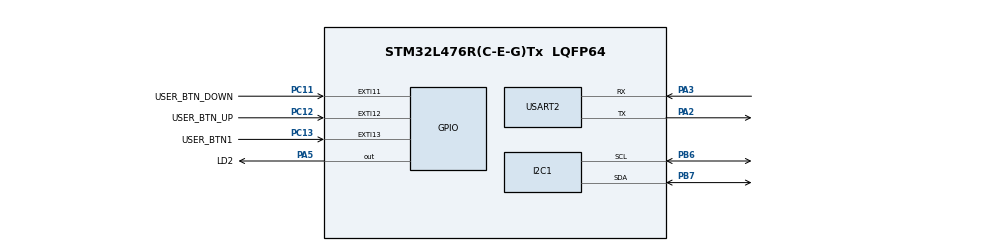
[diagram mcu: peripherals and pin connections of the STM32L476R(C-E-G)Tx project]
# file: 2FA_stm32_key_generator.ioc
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I2C1.Timing=0x00100D14
Mcu.Family=STM32L4
Mcu.Name=STM32L476R(C-E-G)Tx
Mcu.Package=LQFP64
NVIC.EXTI15_10_IRQn=true\:10\:0\:true\:false\:true\:true\:true\:true
NVIC.PriorityGroup=NVIC_PRIORITYGROUP_4
PA13\ (JTMS-SWDIO).Mode=Serial_Wire
PA13\ (JTMS-SWDIO).Signal=SYS_JTMS-SWDIO
PA14\ (JTCK-SWCLK).Mode=Serial_Wire
PA14\ (JTCK-SWCLK).Signal=SYS_JTCK-SWCLK
PA2.Mode=Asynchronous
PA2.Signal=USART2_TX
PA3.Mode=Asynchronous
PA3.Signal=USART2_RX
PA5.GPIO_Label=LD2
PA5.Signal=GPIO_Output
PB6.Mode=I2C
PB6.Signal=I2C1_SCL
PB7.Mode=I2C
PB7.Signal=I2C1_SDA
PC11.GPIO_Label=USER_BTN_DOWN
PC11.Signal=GPXTI11
PC12.GPIO_Label=USER_BTN_UP
PC12.Signal=GPXTI12
PC13.GPIO_Label=USER_BTN1
PC13.GPIO_ModeDefaultEXTI=GPIO_MODE_IT_FALLING
PC13.Signal=GPXTI13
PC14-OSC32_IN\ (PC14).Mode=LSE-External-Oscillator
PC14-OSC32_IN\ (PC14).Signal=RCC_OSC32_IN
PC15-OSC32_OUT\ (PC15).Mode=LSE-External-Oscillator
PC15-OSC32_OUT\ (PC15).Signal=RCC_OSC32_OUT
ProjectManager.HeapSize=0x200
ProjectManager.StackSize=0x400
ProjectManager.TargetToolchain=STM32CubeIDE
RCC.HSE_VALUE=8000000
RCC.HSI_VALUE=16000000
RCC.MSI_VALUE=4000000
RCC.RTCClockSelection=RCC_RTCCLKSOURCE_LSE
RCC.VCOOutputFreq_Value=32000000
USART2.VirtualMode-Asynchronous=VM_ASYNC
VP_CRC_VS_CRC.Mode=CRC_Activate
VP_RTC_VS_RTC_Activate.Mode=RTC_Enabled
board=custom

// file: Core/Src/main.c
/* USER CODE BEGIN Header */
/**
 ******************************************************************************
 * @file           : main.c
 * @brief          : Main program body
 ******************************************************************************
 * @attention
 *
 * Copyright (c) 2024 STMicroelectronics.
 * All rights reserved.
 *
 * This software is licensed under terms that can be found in the LICENSE file
 * in the root directory of this software component.
 * If no LICENSE file comes with this software, it is provided AS-IS.
 *
 ******************************************************************************
 */
/* USER CODE END Header */
#include "main.h"
#include "crc.h"
#include "i2c.h"
#include "iwdg.h"
#include "rtc.h"
#include "usart.h"
#include "gpio.h"

/* USER CODE BEGIN Includes */
//Std:
#include <stdio.h>
#include <stdlib.h>
#include <time.h>
#include <stdbool.h>
//My:
#include "clockControl.h"
#include "dataConverter.h"
#include "keyGenerator.h"
#include "dataFromUser.h"
#include "eeprom.h"
#include "memoryController.h"
#include "features.h"
#include "interface.h"
#include "printer.h"
/* USER CODE END Includes */

void SystemClock_Config(void);

/* USER CODE BEGIN 0 */
typedef struct tm DateTime_t;

//********************************************************************************************
//GLOBAL VARIABLES (RAM)
//********************************************************************************************
volatile bool ACTIVE_MODE = false;
volatile bool OPT_MODE = false;

RTC_TimeTypeDef rtcTime = { 0 };
RTC_DateTypeDef rtcDate = { 0 };

uint8_t *key = { NULL };
char *name = { NULL };
uint8_t keySize = { 0 };
uint8_t nameSize = { 0 };

//********************************************************************************************
//Function to search key in memory and set it as active
//********************************************************************************************
void searchAndSetKey(const uint8_t keysNumber, uint8_t *currentKeyAddrPtr) {
	uint8_t currentKey[13] = { 0 };		// Container for key from memory
	uint8_t currentKeyName[5] = { 0 };	// Container for name from memory
	uint8_t data[13 + 5] = { 0 };		// Container for all data from memory

	readKeyFromMemory(data, keysNumber, *currentKeyAddrPtr, NULL, currentKeyAddrPtr);

	for (int i = 0; i < 13; i++)
		currentKey[i] = data[i];			//  Get key from data
	for (int i = 0; i < 5; i++)
		currentKeyName[i] = data[i + 13];	//  Get name from data

	//  Trim zeros and optimization arrays:
	keySize = trimZeros(currentKey, 13);
	nameSize = trimZeros(currentKeyName, 5);

	//  Dynamic allocated key array:
	key = (uint8_t*) malloc(keySize * sizeof(uint8_t));
	for (int i = 0; i < keySize; i++) {
		key[i] = currentKey[i];
	}
	//  Dynamic allocated name array:
	name = (char*) malloc((nameSize + 1) * sizeof(char));
	for (int i = 0; i < nameSize; i++) {
		name[i] = (char) currentKeyName[i];
	}
	name[nameSize] = '\0';

	printf("Current used key:\t\t['%s']\n", name);// Print current used key name
	//  printf("Key: ");
	//  for(int i = 0; i < 13; i++) printf("%x ", currentKey[i]);
	//  printf("\n");

	printLineSeparator('=');
	printf("\n");
}

/* USER CODE END 0 */

int main(void)
{

  /* MCU Configuration--------------------------------------------------------*/

  /* Reset of all peripherals, Initializes the Flash interface and the Systick. */
  HAL_Init();

  /* Configure the system clock */
  SystemClock_Config();

  /* Initialize all configured peripherals */
  MX_GPIO_Init();
  MX_USART2_UART_Init();
  MX_CRC_Init();
  MX_RTC_Init();
  MX_I2C1_Init();
  MX_IWDG_Init();
  /* USER CODE BEGIN 2 */
  volatile uint32_t prevWatchDogReset = HAL_GetTick();

//  resetMemoryTest();		// TEST FUNCTION

	printStartInfo();
	printTitle("Device initialization process");

//  ********************************************************************************************
//  Initializing the Memory
//  ********************************************************************************************
	bool missingKey = false;

	if (checkMemory()) {
		printf("Memory status\t\t\t[OK]\n");
	} else {
		printf("Memory status\t\t\t[WRONG]\n");
		printf("Memory initializing...\n");
		if (initMemory(128)) {
			printf("Memory initialize\t\t[OK]\n");
			missingKey = true;
		} else {
			printf("Memory initialize\t\t[ERROR]\n");
		}
	}

//  addKeyTest();			// TEST FUNCTION

//  ********************************************************************************************
//  Initializing the RTC clock
//  ********************************************************************************************
	initClockRTC(&prevWatchDogReset, &rtcTime, &rtcDate);			// Initializing the RTC clock

//  ********************************************************************************************
//  Get general data from memory
//  ********************************************************************************************
	uint8_t generalData[6] = { 0 };
	readGeneralDataFromMemory(generalData);

	const uint8_t MAX_KEYS = generalData[2];
	uint8_t keysNumber = generalData[3];
	uint8_t currentKeyAddr = generalData[4];
	uint8_t generalFlags = generalData[5];

	printSubTitle("General information:");
	printf("The device works in the mode:\t[");
	ACTIVE_MODE ? printf("ACTIVE") : printf("PASSIVE");
	printf("]\n");
	printLocalTime(&rtcTime, &rtcDate);
	printf("Epoch TimeStamp:\t\t[%ld]\n", getTimeStamp(&rtcTime, &rtcDate));// Show current epoch TimeStamp
	printf("Maximum keys in memory:\t\t[%u]\n", MAX_KEYS);
	printf("Current number of keys:\t\t[%u]\n", keysNumber);

//	********************************************************************************************
//	Initial add first key
//	********************************************************************************************
	if(missingKey) {
		addNewKey(&prevWatchDogReset, MAX_KEYS, &keysNumber, &generalFlags, &currentKeyAddr);
		keysNumber = 1;
		currentKeyAddr = 0x06;

		printSubTitle("After add first key:");
		printf("Maximum keys in memory:\t\t[%u]\n", MAX_KEYS);
		printf("Current number of keys:\t\t[%u]\n", keysNumber);
		printf("New key address:\t\t[%x]\n", currentKeyAddr);
	}

//  ********************************************************************************************
//  Get default/last used key from memory
//  ********************************************************************************************
	searchAndSetKey(keysNumber, &currentKeyAddr);

  /* USER CODE END 2 */

  /* Infinite loop */
  /* USER CODE BEGIN WHILE */
	bool tokenWasGenerate = false;
	uint32_t nextGenerate = 0;

	while (1) {
//	  ********************************************************************************************
//	  Option mode
//	  ********************************************************************************************
		if (OPT_MODE) {
			bool repeat = false;

			do {
				repeat = false;
				uint8_t option = printOptions(&prevWatchDogReset);

				if (option != NONE) {
					switch (option) {
						case KEYS_LIST:
							showKeysList(keysNumber);
							break;
						case CHANGE_KEY:
							uint8_t newKeyAddr = {0};

							uint8_t result = searchKey(&prevWatchDogReset, keysNumber, &newKeyAddr);

//							If key is founded:
							if(result == 0) {
//								Set new key:
								searchAndSetKey(keysNumber, &newKeyAddr);
							}

							break;
						case ADD_KEY:
							addNewKey(&prevWatchDogReset, MAX_KEYS, &keysNumber, &generalFlags, &currentKeyAddr);

//							Set new key:
							searchAndSetKey(keysNumber, &newKeyAddr);

							break;
						case DELETE_KEY:
							deleteKey(&prevWatchDogReset, MAX_KEYS, &keysNumber, &generalFlags, &currentKeyAddr);

//							Set new key:
							searchAndSetKey(keysNumber, &currentKeyAddr);

							break;
						case SETTINGS:
							HAL_Delay(250);

							uint8_t setOption = printSettings(&prevWatchDogReset);

							if (setOption != SET_NONE) {
								switch (setOption) {
								case SET_CHANGE_MODE:
									HAL_Delay(250);

									uint8_t setWorkMode = printWrokingMode(&prevWatchDogReset);

									if (setWorkMode != WORK_NONE) {
										switch(setWorkMode) {
										case WORK_PASSIVE:
											ACTIVE_MODE = false;
											break;
										case WORK_ACTIVE:
											ACTIVE_MODE = true;
											break;
										default:
											break;
										}
									}
									break;
								case SET_CHANGE_TIME:
									printf("SET TIME\n");
									getTimeFromUser(&prevWatchDogReset, &rtcTime, &rtcDate);
									break;
								case SET_CHANGE_TIMEZONE:
									printf("SET TIMEZONE\n");
//				  			  		  TODO: Add function
									break;
								case SET_BACK:
									repeat = true;
									break;
								default:
									break;
								}
							}
							break;
						case BACK:
							repeat = false;
							break;
						default:
							break;
					}
				}
			} while (repeat);

			OPT_MODE = false;
		}

//	  ********************************************************************************************
//	  Generate TOTP TOKEN in PASSIVE_MODE
//	  ********************************************************************************************
		if (!ACTIVE_MODE && !OPT_MODE) {
			HAL_RTC_GetDate(&hrtc, &rtcDate, RTC_FORMAT_BIN);
			HAL_RTC_GetTime(&hrtc, &rtcTime, RTC_FORMAT_BIN);
			uint8_t nowSeconds = rtcTime.Seconds;

			uint32_t nowTimeStamp = getTimeStamp(&rtcTime, &rtcDate);
			if( nextGenerate == 0 || (((nowSeconds > 0 && nowSeconds < 30) || (nowSeconds > 30 && nowSeconds < 60)) && !tokenWasGenerate) ) {
				uint32_t token = { generateToken(key, keySize, getTimeStamp(&rtcTime, &rtcDate)) };// Generate TOTP token

				uint8_t blockFor = 0;
				if(nowSeconds > 0 && nowSeconds < 30) {
					blockFor = 30 - nowSeconds;
				}else if(nowSeconds > 30 && nowSeconds < 60) {
					blockFor = 60 - nowSeconds;
				}
				nextGenerate = nowTimeStamp + blockFor;

				printf("Token:\t\t[%06lu]\n", token);

				tokenWasGenerate = true;
			}else if(nowTimeStamp >= nextGenerate && tokenWasGenerate) {
				tokenWasGenerate = false;
			}
		}
//	  ********************************************************************************************
    /* USER CODE END WHILE */

    /* USER CODE BEGIN 3 */
		resetWatchDog(&prevWatchDogReset);		// RESET WATCHDOG IN MAIN LOOP:
	}
	free(key);
	free(name);
  /* USER CODE END 3 */
}

void SystemClock_Config(void)
{
  RCC_OscInitTypeDef RCC_OscInitStruct = {0};
  RCC_ClkInitTypeDef RCC_ClkInitStruct = {0};

  /** Configure the main internal regulator output voltage
  */
  if (HAL_PWREx_ControlVoltageScaling(PWR_REGULATOR_VOLTAGE_SCALE1) != HAL_OK)
  {
    Error_Handler();
  }

  /** Configure LSE Drive Capability
  */
  HAL_PWR_EnableBkUpAccess();
  __HAL_RCC_LSEDRIVE_CONFIG(RCC_LSEDRIVE_LOW);

  /** Initializes the RCC Oscillators according to the specified parameters
  * in the RCC_OscInitTypeDef structure.
  */
  RCC_OscInitStruct.OscillatorType = RCC_OSCILLATORTYPE_LSI|RCC_OSCILLATORTYPE_LSE
                              |RCC_OSCILLATORTYPE_MSI;
  RCC_OscInitStruct.LSEState = RCC_LSE_ON;
  RCC_OscInitStruct.LSIState = RCC_LSI_ON;
  RCC_OscInitStruct.MSIState = RCC_MSI_ON;
  RCC_OscInitStruct.MSICalibrationValue = 0;
  RCC_OscInitStruct.MSIClockRange = RCC_MSIRANGE_6;
  RCC_OscInitStruct.PLL.PLLState = RCC_PLL_NONE;
  if (HAL_RCC_OscConfig(&RCC_OscInitStruct) != HAL_OK)
  {
    Error_Handler();
  }

  /** Initializes the CPU, AHB and APB buses clocks
  */
  RCC_ClkInitStruct.ClockType = RCC_CLOCKTYPE_HCLK|RCC_CLOCKTYPE_SYSCLK
                              |RCC_CLOCKTYPE_PCLK1|RCC_CLOCKTYPE_PCLK2;
  RCC_ClkInitStruct.SYSCLKSource = RCC_SYSCLKSOURCE_MSI;
  RCC_ClkInitStruct.AHBCLKDivider = RCC_SYSCLK_DIV1;
  RCC_ClkInitStruct.APB1CLKDivider = RCC_HCLK_DIV1;
  RCC_ClkInitStruct.APB2CLKDivider = RCC_HCLK_DIV1;

  if (HAL_RCC_ClockConfig(&RCC_ClkInitStruct, FLASH_LATENCY_0) != HAL_OK)
  {
    Error_Handler();
  }

  /** Enable MSI Auto calibration
  */
  HAL_RCCEx_EnableMSIPLLMode();
}

/* USER CODE BEGIN 4 */
void HAL_GPIO_EXTI_Callback(uint16_t GPIO_Pin) {
	if (GPIO_Pin == USER_BTN1_Pin) {
//	  ********************************************************************************************
//	  Generate TOTP TOKEN in ACTIVE_MODE
//	  ********************************************************************************************
		if (ACTIVE_MODE) {
			uint32_t token = { generateToken(key, keySize,
					getTimeStamp(&rtcTime, &rtcDate)) };// Generate TOTP token
			printf("Token:\t\t[%06lu]\n", token);
		}
	}

//	********************************************************************************************
//	Turn OPTIONS MODE on
//	********************************************************************************************
	if (!OPT_MODE) {
		if (GPIO_Pin == USER_BTN_UP_Pin || GPIO_Pin == USER_BTN_DOWN_Pin) {
			OPT_MODE = true;
		}
	}
}
/* USER CODE END 4 */

void Error_Handler(void)
{
	__disable_irq();
	while (1) {
	}
}
